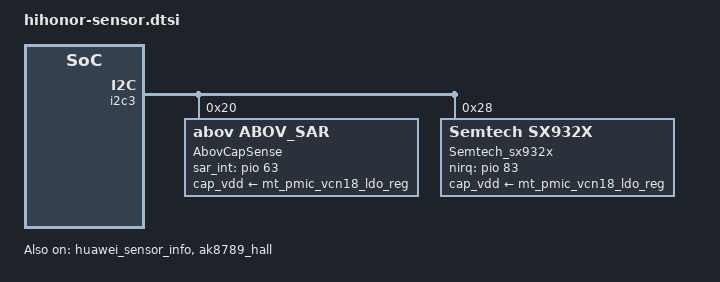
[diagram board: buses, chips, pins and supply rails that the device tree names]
&huawei_sensor_info {
        compatible = "huawei,huawei_sensor_info";
        product_number = <14>;
        status = "okay";
        lsm6dsm_direction = <0>;
        bmi2xy_direction = <3>;
        icm4n607_direction = <0>;
        gyro_calibrate_timeout = <5000>;
};
&i2c3 {
        sar@20 {
                status = "okay";
                compatible = "abov,abov_sar";
                reg = <0x20>;
                phone_type = <0x1>; /* 1:BRT */
                sar_int = <&pio 63 0x00>;
                cap_vdd-supply = <&mt_pmic_vcn18_ldo_reg>;
                reg_array_len = <0x01>;
                reg_array_val = <0x09 0x01>;
                sensor_type = <155>;
                label = "AbovCapSense";
        };
        Semtech_sx932x@28 {
                status = "ok";
                compatible = "Semtech,sx932x";
                reg = <0x28>;
                Semtech,nirq-gpio = <&pio 83 0x00>;
                cap_vdd-supply = <&mt_pmic_vcn18_ldo_reg>;
                sensor_type = <155>;
                Semtech,reg-num = <46>; /* total registers number to initialize*/
                Semtech,reg-init  = /bits/ 8 <
                0x10 0x16
                0x20 0x00
                0x23 0x00
                0x24 0x44
                0x26 0x01
                0x27 0x44
                0x28 0x01 /*PH0 to CS0 input*/
                0x29 0x10
                0x2A 0x19 /*PH2 CS2-input,CS1-dync,CS0-HZ*/
                0x2B 0x00
                0x2C 0x12
                0x2D 0x08
                0x30 0x09
                0x31 0x09
                0x32 0x08
                0x33 0x20
                0x34 0x0C
                0x35 0x00
                0x36 0x04
                0x37 0x1B
                0x40 0x00
                0x41 0x00
                0x42 0x00
                0x43 0x00
                0x44 0x00
                0x45 0x05
                0x46 0x00
                0x47 0x00
                0x48 0x00
                0x49 0x80
                0x4A 0x00
                0x4B 0x00
                0x4C 0x00
                0x4D 0x00
                0x4E 0x80
                0x4F 0x0C
                0x50 0x00
                0x51 0x70
                0x52 0x20
                0x53 0xE1
                0x54 0xF0
                0x05 0x77
                0x06 0x00
                0x07 0x00
                0x08 0x00
                0x11 0x27>;
        };
};

&ak8789_hall {
        compatible = "honor,hall_sensor,ak8789";
        status = "ok";
        honor,hall_0{
                honor,single-n-pole = <&pio 7 0x00>;
                honor,id = <0>;
                honor,type = <0x01>;
                honor,wakeup-flag = <0x4000>; // IRQF_NO_SUSPEND
                honor,hw-wakeup-support = <0x03>;
                honor,default-state = "on";
                honor,x-coordinate = <0>;
                honor,y-coordinate = <0>;
                honor,int-delay-time = <100>;
        };
        honor,hall_1{
                honor,single-n-pole = <&pio 11 0x00>;
                honor,id = <1>;
                honor,type = <0x01>;
                honor,wakeup-flag = <0x4000>; // IRQF_NO_SUSPEND
                honor,hw-wakeup-support = <0x03>;
                honor,default-state = "on";
                honor,x-coordinate = <0>;
                honor,y-coordinate = <0>;
                honor,int-delay-time = <100>;
        };
        honor,hall_2{
                honor,single-n-pole = <&pio 69 0x00>;
                honor,id = <2>;
                honor,type = <0x01>;
                honor,wakeup-flag = <0x4000>; // IRQF_NO_SUSPEND
                honor,hw-wakeup-support = <0x03>;
                honor,default-state = "on";
                honor,x-coordinate = <0>;
                honor,y-coordinate = <0>;
                honor,int-delay-time = <100>;
        };
};

